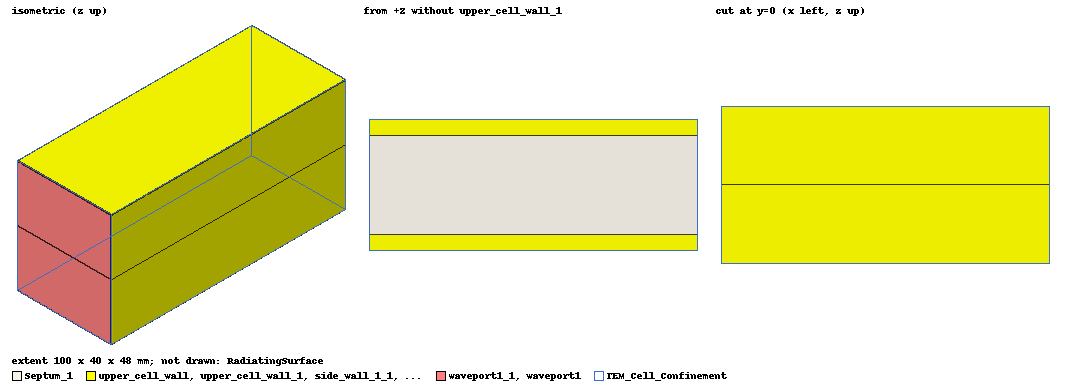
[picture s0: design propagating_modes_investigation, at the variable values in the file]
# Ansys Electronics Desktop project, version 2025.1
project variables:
  $GndPinXxX = 1mm
  $GndPadXxX = 6mm
  $GndPinLength = 1mm
  $PinLength = 1mm
  $AntPadStep = 0.1mm
  $Diameter1 = 1.3mm
  $AntiPadDiameter = 4mm
  $GndPadHigth = 1mm
  $Diameter2 = 4.35mm
  $ConnectorHight = 4.5mm
  $Diameter3 = 5mm
  $freq = 0MHz
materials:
  copper: permeability=0.999991 conductivity=58000000
  vacuum: permittivity=1
  FR4_epoxy: permittivity=4.4 permeability=1 dielectric_loss_tangent=0.02
  Teflon (tm): permittivity=2.1 dielectric_loss_tangent=0.001
  gold: permeability=0.99996 conductivity=41000000
  pec: conductivity=1e+30
  perfect conductor: conductivity=1e+30

design propagating_modes_investigation (HFSS, HFSS Modal Network, model units mm)
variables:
  b = 12mm  # 17
  w = a*1.5/2  # 27/2
  a = 20mm  # 20
  length = 100mm  # 100
  t = 0.1mm  # 0.1
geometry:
  upper_cell_wall = rectangle(corner=(-length/2, -a, b), x_size=length, y_size=2*a)
  lower_cell_wall = upper_cell_wall.duplicate_around_axis(axis=X, angle=180deg, total=2)
  side_wall_1 = rectangle(corner=(-length/2, -a, -b), z_size=2*b, x_size=length)
  side_wall_2 = side_wall_1.duplicate_around_axis(axis=X, angle=180deg, total=2)
  Septum [perfect conductor] = rectangle(corner=(-length/2, -w, (-t/2) mm), x_size=length, y_size=2*w)
  Septum.thicken(t, both sides)
  waveport2 = rectangle(corner=(-length/2, -a, -b), y_size=2*a, z_size=2*b)
  waveport1 = waveport2.duplicate_around_axis(axis=Z, angle=180deg, total=2)
  TEM_Cell_Confinement [vacuum] = box(corner=(-length/2, -a, -b), size=(length, 2*a, 4*b))
  RadiatingSurface [vacuum] = region(absolute_offset: +X=0mm, -X=0mm, +Y=10mm, -Y=10mm, +Z=10mm, -Z=10mm)
  coordinate_system RelativeCS9 = origin=(-75mm, 100mm, -100mm) x=(1mm, 0mm, 0mm) y=(0mm, 1mm, 0mm)
  coordinate_system RelativeCS10 = origin=(0mm, 0mm, -60mm) x=(1mm, 0mm, 0mm) y=(0mm, 1mm, 0mm) in RelativeCS9
  coordinate_system RelativeCS11 = origin=(235mm, 130mm, 0mm) x=(1mm, 0mm, 0mm) y=(0mm, 1mm, 0mm) in RelativeCS10
  coordinate_system RelativeCS12 = origin=(-85mm, -165mm, 110.5mm) x=(1mm, 0mm, 0mm) y=(0mm, 1mm, 0mm) in RelativeCS11
  coordinate_system RelativeCS13 = origin=(-75mm, -65mm, 49.5mm) x=(1mm, 0mm, 0mm) y=(0mm, 1mm, 0mm) in RelativeCS12
  coordinate_system RelativeCS14 = origin=(235mm, 130mm, 0mm) x=(1mm, 0mm, 0mm) y=(0mm, 1mm, 0mm) in RelativeCS13
  coordinate_system RelativeCS15 = origin=(-85mm, -165mm, 110.5mm) x=(1mm, 0mm, 0mm) y=(0mm, 1mm, 0mm) in RelativeCS14
  coordinate_system RelativeCS16 = origin=(1mm, 0.14142136mm, 10.35mm) x=(1mm, 0mm, 0mm) y=(0mm, 1mm, 0mm)
  coordinate_system RelativeCS17 = origin=(-0.1mm, 0mm, 1.65mm) x=(1mm, 0mm, 0mm) y=(0mm, 1mm, 0mm) in RelativeCS16
  coordinate_system RelativeCS18 = origin=(0.1mm, 0mm, 0mm) x=(1mm, 0mm, 0mm) y=(0mm, 1mm, 0mm) in RelativeCS17
  coordinate_system RelativeCS19 = origin=(1.1mm, 0mm, -1.5mm) x=(1mm, 0mm, 0mm) y=(0mm, 1mm, 0mm) in RelativeCS18
  coordinate_system RelativeCS20 = origin=(-1.1mm, 0mm, 1.55mm) x=(1mm, 0mm, 0mm) y=(0mm, 1mm, 0mm) in RelativeCS19
  coordinate_system RelativeCS21 = origin=(-50mm, 0mm, 12mm) x=(1mm, 0mm, 0mm) y=(0mm, 1mm, 0mm)
  point Point1 = (0mm, 0mm, -6mm) in RelativeCS21
  coordinate_system RelativeCS22 = origin=(50mm, 0mm, -12mm) x=(1mm, 0mm, 0mm) y=(0mm, 1mm, 0mm) in RelativeCS21
  coordinate_system RelativeCS31 = origin=(-75mm, 100mm, -100mm) x=(1mm, 0mm, 0mm) y=(0mm, 1mm, 0mm) in RelativeCS22
  coordinate_system RelativeCS32 = origin=(0mm, 0mm, -60mm) x=(1mm, 0mm, 0mm) y=(0mm, 1mm, 0mm) in RelativeCS31
  coordinate_system RelativeCS23 = origin=(235mm, 130mm, 0mm) x=(1mm, 0mm, 0mm) y=(0mm, 1mm, 0mm) in RelativeCS32
  coordinate_system RelativeCS24 = origin=(-85mm, -165mm, 110.5mm) x=(1mm, 0mm, 0mm) y=(0mm, 1mm, 0mm) in RelativeCS23
  coordinate_system RelativeCS25 = origin=(-75mm, -65mm, 49.5mm) x=(1mm, 0mm, 0mm) y=(0mm, 1mm, 0mm) in RelativeCS24
  coordinate_system RelativeCS26 = origin=(235mm, 130mm, 0mm) x=(1mm, 0mm, 0mm) y=(0mm, 1mm, 0mm) in RelativeCS25
  coordinate_system RelativeCS27 = origin=(-85mm, -165mm, 110.5mm) x=(1mm, 0mm, 0mm) y=(0mm, 1mm, 0mm) in RelativeCS26
  coordinate_system RelativeCS28 = origin=(1mm, 0.14142136mm, 10.35mm) x=(1mm, 0mm, 0mm) y=(0mm, 1mm, 0mm) in RelativeCS22
  coordinate_system RelativeCS29 = origin=(-0.1mm, 0mm, 1.65mm) x=(1mm, 0mm, 0mm) y=(0mm, 1mm, 0mm) in RelativeCS28
  coordinate_system RelativeCS30 = origin=(0.1mm, 0mm, 0mm) x=(1mm, 0mm, 0mm) y=(0mm, 1mm, 0mm) in RelativeCS29
  coordinate_system RelativeCS33 = origin=(50mm, 0mm, -0.05005mm) x=(1mm, 0mm, 0mm) y=(0mm, 1mm, 0mm) in RelativeCS22
  coordinate_system RelativeCS34 = origin=(0mm, 0mm, 0.05mm) x=(1mm, 0mm, 0mm) y=(0mm, 1mm, 0mm) in RelativeCS33
  point Point2 = (0mm, 0mm, 6mm) in RelativeCS34
  coordinate_system RelativeCS35 = origin=(-49mm, 0.14142136mm, 12.00005mm) x=(1mm, 0mm, 0mm) y=(0mm, 1mm, 0mm) in RelativeCS34
  coordinate_system RelativeCS36 = origin=(-1mm, -0.14142136mm, 0mm) x=(1mm, 0mm, 0mm) y=(0mm, 1mm, 0mm) in RelativeCS35
  coordinate_system RelativeCS37 = origin=(73mm, -29.6mm, 0mm) x=(1mm, 0mm, 0mm) y=(0mm, 1mm, 0mm) in RelativeCS36
  coordinate_system RelativeCS38 = origin=(-14.8mm, 3.2mm, 0mm) x=(1mm, 0mm, 0mm) y=(0mm, 1mm, 0mm) in RelativeCS37
  coordinate_system RelativeCS39 = origin=(-58.2mm, 26.541421mm, 0.05mm) x=(1mm, 0mm, 0mm) y=(0mm, 1mm, 0mm) in RelativeCS38
  coordinate_system RelativeCS40 = origin=(61.4mm, -27.8mm, 0mm) x=(1mm, 0mm, 0mm) y=(0mm, 1mm, 0mm) in RelativeCS39
  coordinate_system RelativeCS41 = origin=(-61.4mm, 27.8mm, -0.05mm) x=(1mm, 0mm, 0mm) y=(0mm, 1mm, 0mm) in RelativeCS40
  coordinate_system RelativeCS42 = origin=(4mm, 0mm, 0mm) x=(1mm, 0mm, 0mm) y=(0mm, 1mm, 0mm) in RelativeCS41
  coordinate_system RelativeCS43 = origin=(-4mm, 0mm, 0mm) x=(1mm, 0mm, 0mm) y=(0mm, 1mm, 0mm) in RelativeCS42
  coordinate_system RelativeCS44 = origin=((-0.70000000000001+0.7) mm, -0.005mm, 0mm) x=(1mm, 0mm, 0mm) y=(0mm, 1mm, 0mm) in RelativeCS43
  Septum_1 [perfect conductor] = Septum.duplicate_along_line(step=(7.1054274e-15mm, -7.1054274e-15mm, 24mm), total=2) in RelativeCS44
  side_wall_1_1 = side_wall_1.duplicate_along_line(step=(7.1054274e-15mm, -7.1054274e-15mm, 24mm), total=2) in RelativeCS44
  side_wall_2_1 = side_wall_2.duplicate_along_line(step=(7.1054274e-15mm, -7.1054274e-15mm, 24mm), total=2) in RelativeCS44
  upper_cell_wall_1 = upper_cell_wall.duplicate_along_line(step=(7.1054274e-15mm, -7.1054274e-15mm, 24mm), total=2) in RelativeCS44
  waveport1_1 = waveport1.duplicate_along_line(step=(7.1054274e-15mm, -7.1054274e-15mm, 24mm), total=2) in RelativeCS44
  waveport2_1 = waveport2.duplicate_along_line(step=(7.1054274e-15mm, -7.1054274e-15mm, 24mm), total=2) in RelativeCS44
  Box1 = box(corner=((-11.2/2) mm, (-11.2/2) mm, -1mm), size=(11.2mm, 11.2mm, 2mm)) in RelativeCS44
  upper_cell_wall.subtract(Box1)
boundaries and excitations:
  PerfE1: Perfect E Objects=[upper_cell_wall, lower_cell_wall, side_wall_1, side_wall_2]
  Open1: Radiation Objects=RadiatingSurface
  PerfE2: Perfect E Objects=[upper_cell_wall_1, side_wall_1_1, side_wall_2_1]
  waveport1: Wave Port Objects=waveport1 WavePortType=Modal NumModes=3 Modes{Mode1{CharImp=Zpi} Mode2{CharImp=Zpi} Mode3{CharImp=Zpi}}
  waveport2: Wave Port Objects=waveport2 WavePortType=Modal NumModes=3 Modes{Mode1{CharImp=Zpi} Mode2{CharImp=Zpi} Mode3{CharImp=Zpi}}
  waveport3: Wave Port Objects=waveport1_1 WavePortType=Modal NumModes=3 Modes{Mode1{CharImp=Zpi} Mode2{CharImp=Zpi} Mode3{CharImp=Zpi}}
  waveport4: Wave Port Objects=waveport2_1 WavePortType=Modal NumModes=3 Modes{Mode1{CharImp=Zpi} Mode2{CharImp=Zpi} Mode3{CharImp=Zpi}}
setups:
  Setup1: HfssDriven Frequency=3GHz MaxDeltaS=0.001 MaximumPasses=10 MinimumPasses=1 MinimumConvergedPasses=1 PercentRefinement=30 BasisOrder=1 PortAccuracy=2 DrivenSolverType="Direct Solver"
    sweep Sweep: 1MHz to 3GHz, 401 points; Type=Discrete
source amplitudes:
  waveport1:1: 1W 0deg
  waveport1:2, waveport1:3, waveport2:1, waveport2:2, waveport2:3, waveport3:1, waveport3:2, waveport3:3, waveport4:1, waveport4:2, waveport4:3: 0W 0deg
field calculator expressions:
  Ex = Fundamental_Quantity(0) | ScalarX | CmplxMag
  Ey = Fundamental_Quantity(0) | ScalarY | CmplxMag
  Ez = Fundamental_Quantity(0) | ScalarZ | CmplxMag
  UandI = Complex_Constant(-147.425498730031, 3.91117166145796)
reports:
  Coupling S-Parameters: dB(S(waveport1:1,waveport3:1)), dB(S(waveport1:1,waveport2:1)), dB(S(waveport1:1,waveport4:1)) vs Freq on Setup1 : Sweep
